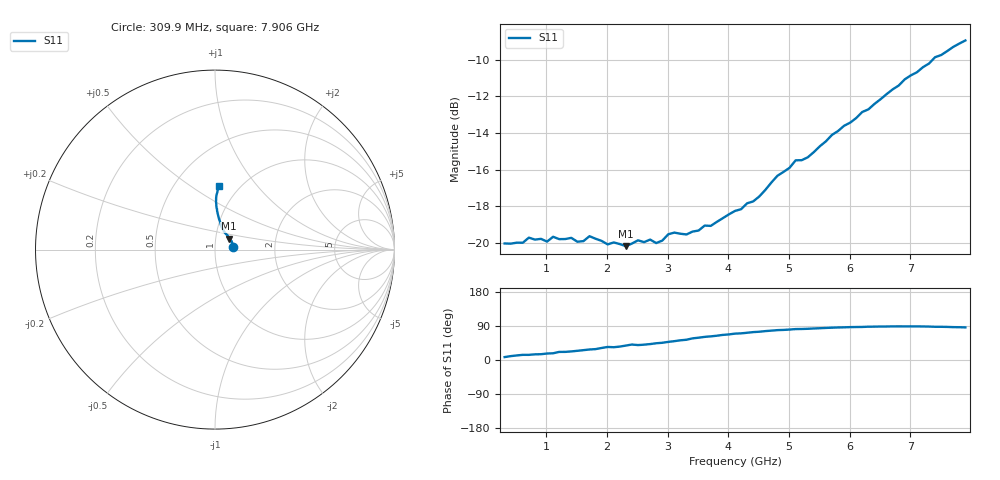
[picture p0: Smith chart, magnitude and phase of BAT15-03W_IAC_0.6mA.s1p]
! Infineon Technologies  Discrete & RF Semiconductors
! BAT15-03W-E6327
! IAC = 0.6 mA
! One-Port S-Parameters
# Hz  S  MA  R  50
!f  S11
!Hz  Mag  Ang
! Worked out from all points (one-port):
!   77 points, 309.9 MHz to 7.906 GHz, reference 50 ohm
!   lowest |S11| = -20.2 dB at 2.309 GHz (marker M1), VSWR 1.22, Z = 57.9 + j7.06 ohm
!   |S11| at or under -10 dB: start of sweep to 7.369 GHz
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3.0985e8  0.09961 7.7
6.097e8  0.1 13.6
7.0965e8  0.1033 13.6
1.0095e9  0.1008 17.1
1.10945e9  0.1039 17.7
1.30935e9  0.1024 21.4
1.6092e9  0.1011 26.0
1.70915e9  0.1042 27.7
2.009e9  0.09901 34.4
2.2089e9  0.09922 35.4
2.30885e9  0.09792 38.1
2.50875e9  0.1016 39.4
2.70865e9  0.1021 42.0
2.8086e9  0.09985 44.2
3.0085e9  0.1055 47.8
3.2084e9  0.1059 52.0
3.70815e9  0.1112 62.4
4.10795e9  0.1222 69.7
4.50775e9  0.1338 74.6
4.8076e9  0.1524 78.8
5.0075e9  0.1602 80.3
5.10745e9  0.1679 81.6
5.30735e9  0.1711 82.3
5.70715e9  0.197 85.3
6.007e9  0.2127 86.8
7.0065e9  0.2863 88.8
7.4063e9  0.3209 87.6
7.90605e9  0.3565 86.0
